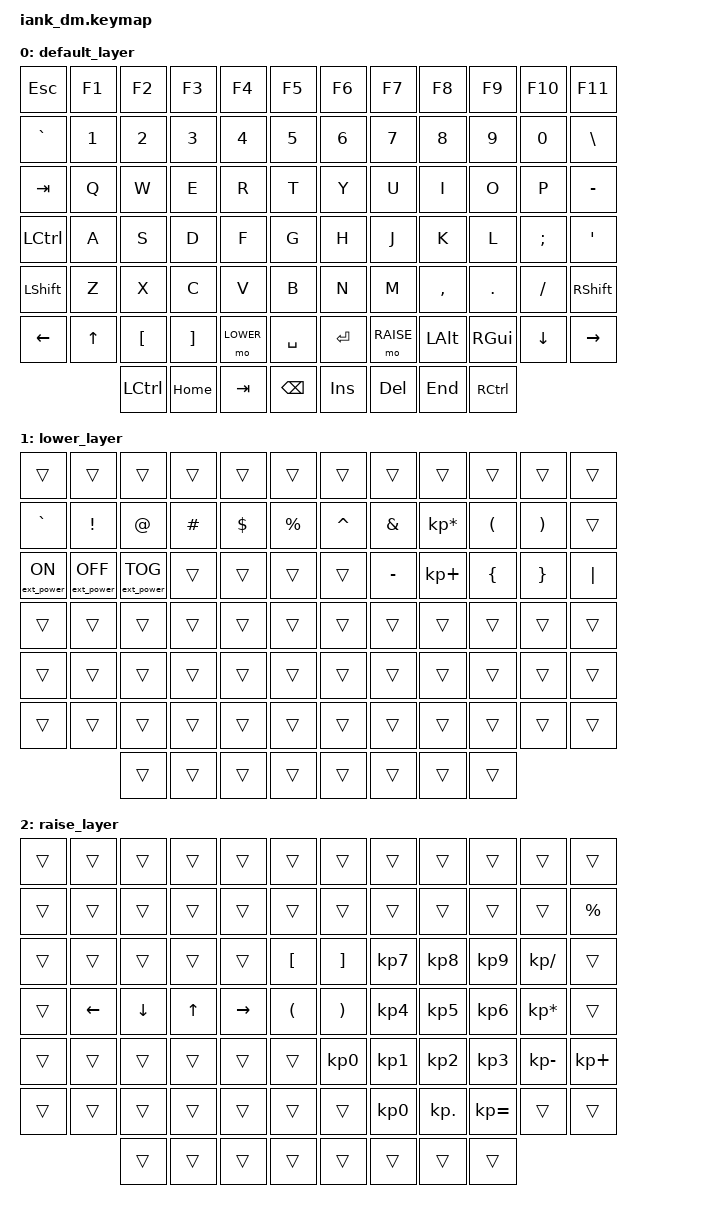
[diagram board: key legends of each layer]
/*
 * Copyright (c) 2020 The ZMK Contributors
 *
 * SPDX-License-Identifier: MIT
 */

#include <behaviors.dtsi>
#include <dt-bindings/zmk/bt.h>
#include <dt-bindings/zmk/keys.h>

#define QWERTY 0
#define LOWER 1
#define RAISE 2

/ {
    keymap {
        compatible = "zmk,keymap";

        default_layer {
            bindings = <
&kp ESC    &kp F1  &kp F2     &kp F3    &kp F4     &kp F5         &kp F6      &kp F7      &kp F8        &kp F9     &kp F10   &kp F11
&kp GRAVE  &kp N1  &kp N2     &kp N3    &kp N4     &kp N5         &kp N6      &kp N7      &kp N8        &kp N9     &kp N0    &kp BSLH
&kp TAB    &kp Q   &kp W      &kp E     &kp R      &kp T          &kp Y       &kp U       &kp I         &kp O      &kp P     &kp MINUS
&kp LCTRL  &kp A   &kp S      &kp D     &kp F      &kp G          &kp H       &kp J       &kp K         &kp L      &kp SEMI  &kp SQT
&kp LSHFT  &kp Z   &kp X      &kp C     &kp V      &kp B          &kp N       &kp M       &kp COMMA     &kp DOT    &kp FSLH  &kp RSHFT
&kp LEFT   &kp UP  &kp LBKT   &kp RBKT  &mo LOWER  &kp SPACE      &kp ENTER   &mo RAISE   &kp LEFT_ALT  &kp RGUI   &kp DOWN  &kp RIGHT
                   &kp LCTRL  &kp HOME  &kp TAB    &kp BACKSPACE  &kp INSERT  &kp DELETE  &kp END    &kp RCTRL
            >;

            
        };

        lower_layer {
            bindings = <
&trans       &trans       &trans       &trans       &trans        &trans                     &trans     &trans    &trans           &trans    &trans    &trans
&kp GRAVE         &kp EXCL           &kp AT             &kp HASH      &kp DOLLAR    &kp PRCNT     &kp CARET     &kp AMPS      &kp KP_MULTIPLY  &kp LPAR  &kp RPAR  &trans
&ext_power EP_ON  &ext_power EP_OFF  &ext_power EP_TOG  &trans        &trans        &trans        &trans        &kp MINUS     &kp KP_PLUS      &kp LBRC  &kp RBRC  &kp PIPE
&trans            &trans             &trans             &trans        &trans        &trans        &trans        &trans        &trans           &trans    &trans    &trans
&trans            &trans             &trans             &trans        &trans        &trans        &trans        &trans        &trans           &trans    &trans    &trans
&trans            &trans             &trans             &trans        &trans        &trans        &trans        &trans        &trans           &trans    &trans    &trans
                                     &trans             &trans        &trans        &trans        &trans        &trans        &trans           &trans
            >;

            
        };

        raise_layer {
            bindings = <
&trans  &trans    &trans    &trans  &trans     &trans    &trans     &trans     &trans      &trans        &trans           &trans
&trans  &trans    &trans    &trans  &trans     &trans    &trans     &trans     &trans      &trans        &trans           &kp PRCNT
&trans  &trans    &trans    &trans  &trans     &kp LBKT  &kp RBKT   &kp KP_N7  &kp KP_N8   &kp KP_N9     &kp KP_DIVIDE    &trans
&trans  &kp LEFT  &kp DOWN  &kp UP  &kp RIGHT  &kp LPAR  &kp RPAR   &kp KP_N4  &kp KP_N5   &kp KP_N6     &kp KP_MULTIPLY  &trans
&trans  &trans    &trans    &trans  &trans     &trans    &kp KP_N0  &kp KP_N1  &kp KP_N2   &kp KP_N3     &kp KP_MINUS     &kp KP_PLUS
&trans  &trans    &trans    &trans  &trans     &trans    &trans     &kp KP_N0  &kp KP_DOT  &kp KP_EQUAL  &trans           &trans
                  &trans    &trans  &trans     &trans    &trans     &trans     &trans      &trans
            >;

            
        };
    };
};
